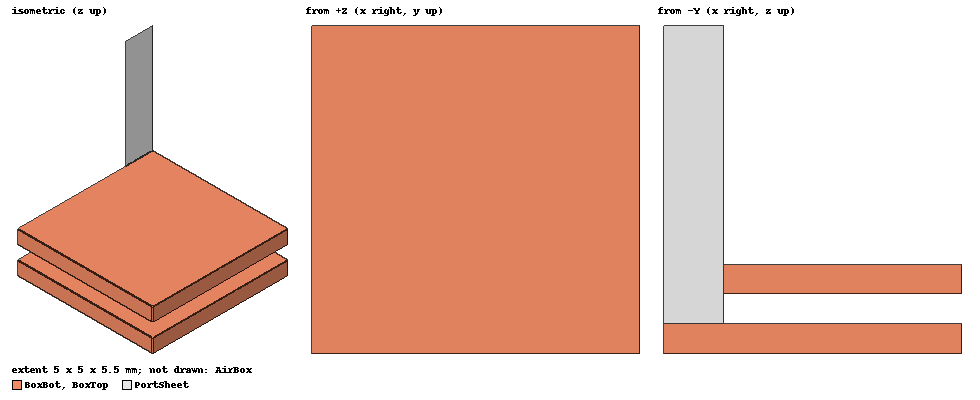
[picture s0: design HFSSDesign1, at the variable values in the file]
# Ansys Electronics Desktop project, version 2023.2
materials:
  vacuum: permittivity=1
  copper: permeability=0.999991 conductivity=58000000

design HFSSDesign1 (HFSS, HFSS Modal Network, model units mm)
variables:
  gap = 1mm
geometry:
  BoxBot [copper] = box(corner=(0mm, 0mm, 0mm), size=(5mm, 5mm, 0.5mm))
  BoxTop [copper] = box(corner=(0mm, 0mm, gap), size=(5mm, 5mm, 0.5mm))
  PortSheet = rectangle(corner=(0mm, 0mm, 0.5mm), z_size=5mm, x_size=gap)
  AirBox [vacuum] = box(corner=(-5mm, -5mm, -5mm), size=(15mm, 15mm, 15mm))
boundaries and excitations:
  Rad__4L22GC: Radiation Objects=AirBox
  1: Lumped Port Objects=PortSheet LumpedPortType=Modal Modes{Mode1{IntLine{(0.5, 0, 5.5) -> (0.5, 0, 0.5)} CharImp=Zpi RenormImp=50ohm}} Impedance=50ohm
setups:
  Setup1: HfssDriven Frequency=2.4GHz MaxDeltaS=0.2 MaximumPasses=1 MinimumPasses=1 MinimumConvergedPasses=1 PercentRefinement=30 BasisOrder=1 PortAccuracy=2 DrivenSolverType="Direct Solver"
    sweep Sweep1: 1GHz to 3GHz, 5 points; Type=Discrete
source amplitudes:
  1:1: 1W 0deg
